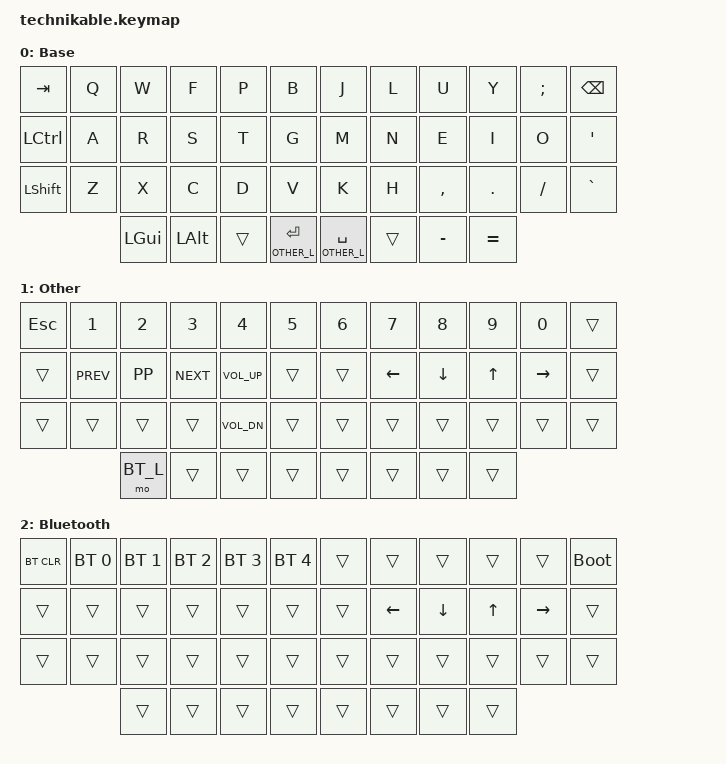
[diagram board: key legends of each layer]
/*
 * Copyright (c) 2022 Pete Johanson
 *
 * SPDX-License-Identifier: MIT
 */

#include <behaviors.dtsi>
#include <dt-bindings/zmk/keys.h>
#include <dt-bindings/zmk/bt.h>
#include <dt-bindings/zmk/outputs.h>

#define OTHER_L 1
#define BT_L 2

// Using layer taps on thumbs, having quick tap as well helps w/ repeating space/backspace
&lt { quick_tap_ms = <200>; };

/ {
    chosen {
       zmk,matrix_transform = &ortho_transform;
    };

//    conditional_layers {
//        compatible = "zmk,conditional-layers";
//    tri_layer {
//        if-layers = <NAV_L NUM_L>;
//        then-layer = <SYM_L>;
//    };
//    };

    keymap {
        compatible = "zmk,keymap";

        base_layer {
            label = "Base";
            bindings = <
 &kp TAB    &kp Q      &kp W      &kp F       &kp P          &kp B          &kp J            &kp L          &kp U       &kp Y      &kp SEMI      &kp BKSP
 &kp LCTRL  &kp A      &kp R      &kp S       &kp T          &kp G          &kp M            &kp N          &kp E       &kp I      &kp O         &kp QUOT
 &kp LSHFT  &kp Z      &kp X      &kp C       &kp D          &kp V          &kp K            &kp H          &kp COMMA   &kp DOT    &kp FSLH      &kp GRAVE
                       &kp LGUI   &kp LALT    &trans         &lt OTHER_L ENTER &lt OTHER_L SPACE &trans     &kp MINUS   &kp EQUAL  
            >;
        };

        other_layer {
            label = "Other";
            bindings = <
 &kp ESC    &kp N1     &kp N2     &kp N3      &kp N4         &kp N5         &kp N6           &kp N7         &kp N8      &kp N9     &kp N0        &trans
 &trans     &kp K_PREV &kp K_PP   &kp K_NEXT  &kp C_VOL_UP   &trans         &trans           &kp LEFT       &kp DOWN    &kp UP     &kp RIGHT     &trans     
 &trans     &trans     &trans     &trans      &kp C_VOL_DN   &trans         &trans           &trans         &trans      &trans     &trans        &trans
                       &mo BT_L     &trans      &trans         &trans         &trans           &trans         &trans      &trans     
            >;
        };

        bt_layer {
            label = "Bluetooth";
            bindings = <
&bt BT_CLR &bt BT_SEL 0  &bt BT_SEL 1  &bt BT_SEL 2   &bt BT_SEL 3       &bt BT_SEL 4    &trans     &trans         &trans      &trans     &trans     &bootloader
&trans     &trans     &trans     &trans      &trans          &trans       &trans     &kp LEFT       &kp DOWN    &kp UP     &kp RIGHT  &trans
&trans     &trans     &trans     &trans      &trans          &trans       &trans     &trans         &trans      &trans     &trans     &trans
                      &trans     &trans      &trans          &trans       &trans     &trans         &trans      &trans     
            >;
        };
    };
};
